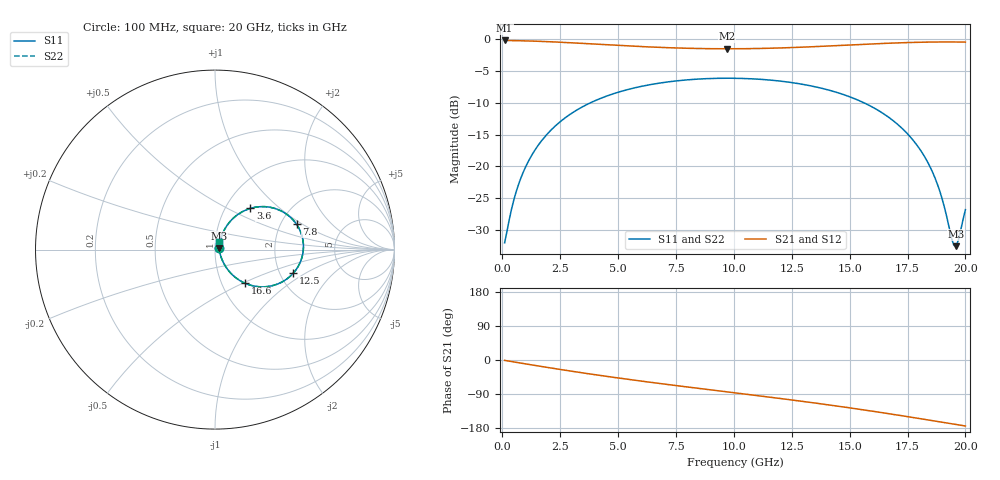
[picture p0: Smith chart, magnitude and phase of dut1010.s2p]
! Touchstone file exported from HFSS 2026.1.0
!  File:  C:/ffzhzh/LocalFiles/Ansys_Project_Files/temp_train_TSV_RDL_1010_1783291210_38704.aedt
!  Generated:  06:50:33 AM Jul  6, 2026
!  Design:  TSV_RDL
!  Project:  temp_train_TSV_RDL_1010_1783291210_38704
! Variables:
!  h_bsmrdl = 5.51um
!  h_ox = 20um
!  h_rdl = 5um
!  h_sub = 80.44um
!  h_tmrdl = 2.48um
!  h_tsv = 80.44um
!  h_via = 3um
!  l_bsmrdl = 371.39um
!  l_sub = 2763.6um
!  l_tmrdl = 291.35um
!  m_sub = 200um
!  pitch = 34.16um
!  r_tsv = 5.23um
!  s_tmrdl = 10um
!  w_bsmrdl = 17.79um
!  w_sub = 500um
!  w_tmrdl = 10.22um
!  x_tsv_center1 = 296.46um
!  x_tsv_center2 = 685.64um
!  x_tsv_center3 = 987.21um
!  x_tsv_center4 = 1376.39um
!  x_tsv_center5 = 1677.96um
!  x_tsv_center6 = 2067.14um
# GHz S MA R 50.000000
! Terminal data exported
! Port[1] = TM_RDL1_1_T1
! Port[2] = TM_RDL5_1_T1
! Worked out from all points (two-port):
!   200 points, 100 MHz to 20 GHz, reference 50 ohm
!   highest |S21| = -0.20 dB at 100 MHz (marker M1); lowest = -1.5 dB at 9.7 GHz (marker M2)
!   |S21| within 3 dB of the highest: start of sweep to end of sweep
!   lowest |S11| = -32.5 dB at 19.6 GHz (marker M3), VSWR 1.05, Z = 52.3 + j0.697 ohm
!   |S11| at or under -10 dB: start of sweep to 3.806 GHz; 15.62 GHz to end of sweep
!   |S22| runs from -32.5 to -6.1 dB; largest |S21 - S12| = 6e-14
!   S11 on the Smith chart (normalised r, x): 100 MHz: 1.05, +0.02; 3.6 GHz: 1.30, +0.66; 7.8 GHz: 2.44, +0.89; 12.5 GHz: 2.37, -0.78; 16.6 GHz: 1.28, -0.51; 20 GHz: 1.04, +0.08
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0.1  0.0251 22.8  0.977 -1.1  0.977 -1.1  0.0251 22.8
! Gamma 0 0 0 0
! Port Impedance 50 0 50 0
0.6  0.06333 60.7  0.9734 -6.2  0.9734 -6.2  0.06333 60.7
1.3  0.1249 64.6  0.966 -13.3  0.966 -13.3  0.1249 64.6
2.2  0.2008 59.9  0.9519 -22.1  0.9519 -22.1  0.2008 59.9
3.5  0.2965 50.1  0.9256 -34.3  0.9256 -34.3  0.2965 50.1
3.6  0.3031 49.3  0.9234 -35.2  0.9234 -35.2  0.3031 49.3
6.8  0.452 24.6  0.862 -62.0  0.862 -62.0  0.452 24.6
7.8  0.4757 17.3  0.8499 -69.7  0.8499 -69.7  0.4756 17.3
9.7  0.4934 3.7  0.8404 -84.1  0.8404 -84.1  0.4934 3.7
10.1  0.4927 0.8  0.8407 -87.1  0.8407 -87.1  0.4927 0.8
12.5  0.4559 -16.6  0.859 -105.4  0.859 -105.4  0.4559 -16.6
13.4  0.4269 -23.4  0.8719 -112.7  0.8719 -112.7  0.4268 -23.4
15.2  0.3415 -37.4  0.9036 -128.0  0.9036 -128.0  0.3414 -37.4
16.6  0.2497 -48.4  0.928 -140.8  0.928 -140.8  0.2497 -48.4
16.7  0.2424 -49.2  0.9296 -141.7  0.9296 -141.7  0.2424 -49.1
17.7  0.1642 -55.8  0.9427 -151.4  0.9427 -151.4  0.1642 -55.8
18.4  0.1056 -57.9  0.9484 -158.3  0.9484 -158.3  0.1056 -57.9
18.9  0.06345 -53.9  0.9505 -163.2  0.9505 -163.2  0.06345 -53.9
19.4  0.02742 -21.9  0.9507 -168.2  0.9507 -168.2  0.02742 -21.9
19.5  0.02398 -4.3  0.9505 -169.2  0.9505 -169.2  0.02399 -4.3
19.6  0.02364 16.4  0.9503 -170.2  0.9503 -170.2  0.02365 16.4
20  0.04574 63.1  0.9485 -174.2  0.9485 -174.2  0.04575 63.1
